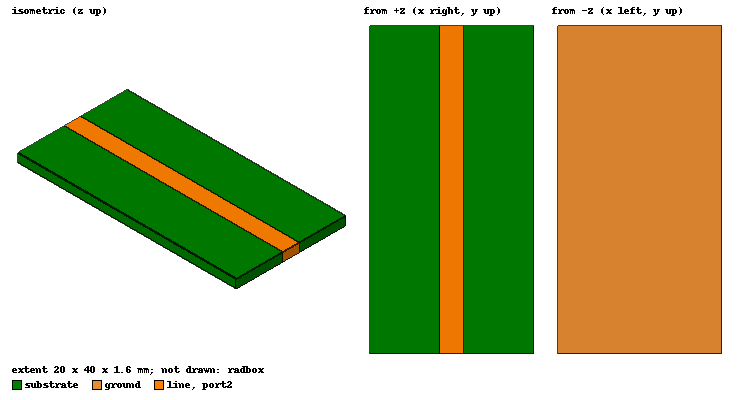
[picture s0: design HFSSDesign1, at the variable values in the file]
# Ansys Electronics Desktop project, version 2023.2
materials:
  vacuum: permittivity=1
  copper: permeability=0.999991 conductivity=58000000
  FR4_epoxy: permittivity=4.4 dielectric_loss_tangent=0.02
  air: permittivity=1.0006 permeability=1.0000004

design HFSSDesign1 (HFSS, HFSS Terminal Network, model units mm)
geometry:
  ground = rectangle(corner=(0mm, 0mm, 0mm), x_size=20mm, y_size=40mm)
  substrate [FR4_epoxy] = box(corner=(0mm, 0mm, 0mm), size=(20mm, 40mm, 1.6mm))
  line = rectangle(corner=((10-1.5) mm, 0mm, 1.6mm), x_size=3mm, y_size=40mm)
  port1 = rectangle(corner=(8.5mm, 0mm, 1.6mm), z_size=-1.6mm, x_size=3mm)
  port2 = rectangle(corner=(11.5mm, 40mm, 1.6mm), z_size=-1.6mm, x_size=-3mm)
  radbox [air] = box(corner=(-10mm, -10mm, -20mm), size=(40mm, 60mm, 40mm))
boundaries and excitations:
  PerfE1: Perfect E Objects=[ground, line]
  Rad1: Radiation Objects=radbox
  2: Lumped Port Objects=port2 LumpedPortType=Modal Modes{Mode1{IntLine{(10, 40, 1.6) -> (10, 40, 0)} CharImp=Zpi}} Impedance=50ohm
  3: Lumped Port Objects=port1 LumpedPortType=Modal Modes{Mode1{IntLine{(10, 0, 1.6) -> (10, 0, 0)} CharImp=Zpi}} Impedance=50ohm
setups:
  Setup1: HfssDrivenAuto AutoSolverSetting=Balanced InfiniteSphereSetup=1 Type=Discrete
    sweep Sweep: 1GHz to 2GHz, 5 points;
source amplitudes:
  2:1: 1V 0deg
  3:1: 0V 0deg
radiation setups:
  Infinite Sphere1: Infinite Sphere Theta=0deg..180deg step 2deg Phi=-180deg..180deg step 2deg
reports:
  Terminal S Parameter Plot 1: dB(St(2,2)), dB(St(3,2)), dB(St(2,3)), dB(St(3,3)) vs Freq on Setup1 : Sweep
